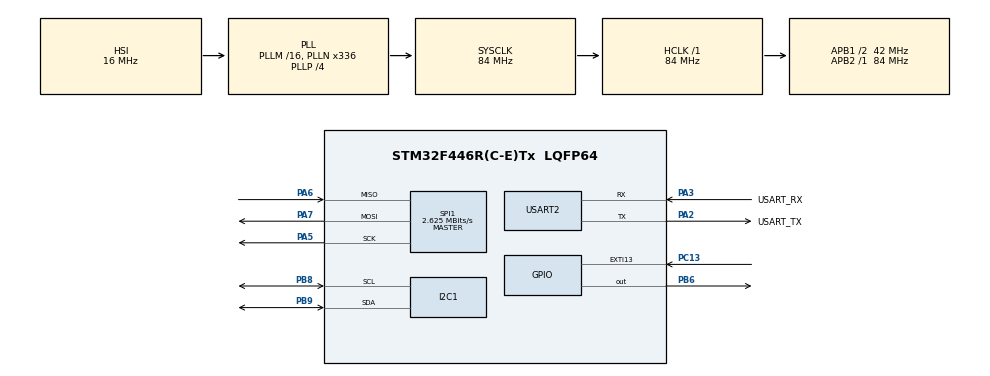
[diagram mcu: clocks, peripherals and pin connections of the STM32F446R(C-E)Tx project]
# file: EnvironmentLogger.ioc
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FREERTOS.Mutexes01=uartMutex,Dynamic,NULL,Available
FREERTOS.Queues01=recordQueue,4,SensorRecord,0,Dynamic,NULL,NULL
FREERTOS.Tasks01=SensorTask,32,512,StartSensorTask,Default,NULL,Dynamic,NULL,NULL;StorageTask,24,256,StartStorageTask,Default,NULL,Dynamic,NULL,NULL
Mcu.Family=STM32F4
Mcu.Name=STM32F446R(C-E)Tx
Mcu.Package=LQFP64
NUCLEO-F446RE.BUTTON=1
NUCLEO-F446RE.LD1=false
NVIC.EXTI15_10_IRQn=true\:5\:0\:false\:false\:true\:true\:false\:true\:true
NVIC.PriorityGroup=NVIC_PRIORITYGROUP_4
NVIC.TIM6_DAC_IRQn=true\:15\:0\:false\:false\:true\:false\:false\:true\:true
NVIC.TimeBase=TIM6_DAC_IRQn
NVIC.TimeBaseIP=TIM6
PA13.GPIO_Label=TMS
PA13.Signal=SYS_JTMS-SWDIO
PA14.GPIO_Label=TCK
PA14.Signal=SYS_JTCK-SWCLK
PA2.GPIO_Label=USART_TX
PA2.Mode=Asynchronous
PA2.Signal=USART2_TX
PA3.GPIO_Label=USART_RX
PA3.Mode=Asynchronous
PA3.Signal=USART2_RX
PA5.Mode=Full_Duplex_Master
PA5.Signal=SPI1_SCK
PA6.Mode=Full_Duplex_Master
PA6.Signal=SPI1_MISO
PA7.Mode=Full_Duplex_Master
PA7.Signal=SPI1_MOSI
PB3.GPIO_Label=SWO
PB3.Signal=SYS_JTDO-SWO
PB6.GPIO_PuPd=GPIO_NOPULL
PB6.PinState=GPIO_PIN_SET
PB6.Signal=GPIO_Output
PB8.Mode=I2C
PB8.Signal=I2C1_SCL
PB9.Mode=I2C
PB9.Signal=I2C1_SDA
PC13.Signal=GPXTI13
PC14-OSC32_IN.Signal=RCC_OSC32_IN
PC15-OSC32_OUT.Signal=RCC_OSC32_OUT
PH0-OSC_IN.Signal=RCC_OSC_IN
PH1-OSC_OUT.Signal=RCC_OSC_OUT
ProjectManager.HeapSize=0x200
ProjectManager.StackSize=0x400
ProjectManager.TargetToolchain=CMake
RCC.AHBFreq_Value=84000000
RCC.APB1CLKDivider=RCC_HCLK_DIV2
RCC.APB1Freq_Value=42000000
RCC.APB1TimFreq_Value=84000000
RCC.APB2Freq_Value=84000000
RCC.APB2TimFreq_Value=84000000
RCC.CortexFreq_Value=84000000
RCC.FLatency-AdvancedSettings=FLASH_LATENCY_2
RCC.HCLKFreq_Value=84000000
RCC.HSE_VALUE=8000000
RCC.HSI_VALUE=16000000
RCC.LSE_VALUE=32768
RCC.PLLN=336
RCC.PLLP=RCC_PLLP_DIV4
RCC.SYSCLKFreq_VALUE=84000000
RCC.SYSCLKSource=RCC_SYSCLKSOURCE_PLLCLK
RCC.USBFreq_Value=168000000
RCC.VCOOutputFreq_Value=336000000
SPI1.BaudRatePrescaler=SPI_BAUDRATEPRESCALER_32
SPI1.CalculateBaudRate=2.625 MBits/s
SPI1.Direction=SPI_DIRECTION_2LINES
SPI1.Mode=SPI_MODE_MASTER
SPI1.VirtualType=VM_MASTER
USART2.VirtualMode=VM_ASYNC
VP_CRC_VS_CRC.Mode=CRC_Activate
VP_FREERTOS_VS_CMSIS_V2.Mode=CMSIS_V2
VP_NUCLEO-F446RE_VS_BSP_COMMON.Mode=COMMON
VP_SYS_VS_tim6.Mode=TIM6
board=NUCLEO-F446RE

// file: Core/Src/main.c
/* USER CODE BEGIN Header */
/**
  ******************************************************************************
  * @file           : main.c
  * @brief          : Main program body
  ******************************************************************************
  * @attention
  *
  * Copyright (c) 2026 STMicroelectronics.
  * All rights reserved.
  *
  * This software is licensed under terms that can be found in the LICENSE file
  * in the root directory of this software component.
  * If no LICENSE file comes with this software, it is provided AS-IS.
  *
  ******************************************************************************
  */
/* USER CODE END Header */
#include "main.h"
#include "cmsis_os.h"

/* USER CODE BEGIN Includes */
#include "flash_layout.h"
#include "recovery_scan.h"
/* USER CODE END Includes */

/* USER CODE BEGIN PD */
#define PROVISION_LOG 0
/* USER CODE END PD */

CRC_HandleTypeDef hcrc;

I2C_HandleTypeDef hi2c1;

SPI_HandleTypeDef hspi1;

UART_HandleTypeDef huart2;

/* Definitions for SensorTask */
osThreadId_t SensorTaskHandle;
const osThreadAttr_t SensorTask_attributes = {
  .name = "SensorTask",
  .stack_size = 512 * 4,
  .priority = (osPriority_t) osPriorityAboveNormal,
};
/* Definitions for StorageTask */
osThreadId_t StorageTaskHandle;
const osThreadAttr_t StorageTask_attributes = {
  .name = "StorageTask",
  .stack_size = 256 * 4,
  .priority = (osPriority_t) osPriorityNormal,
};
/* Definitions for recordQueue */
osMessageQueueId_t recordQueueHandle;
const osMessageQueueAttr_t recordQueue_attributes = {
  .name = "recordQueue"
};
/* Definitions for uartMutex */
osMutexId_t uartMutexHandle;
const osMutexAttr_t uartMutex_attributes = {
  .name = "uartMutex"
};
/* USER CODE BEGIN PV */
static ScanResult recovery_result;
static BME280_Calibration calibration;
/* USER CODE END PV */

void SystemClock_Config(void);
static void MX_GPIO_Init(void);
static void MX_I2C1_Init(void);
static void MX_SPI1_Init(void);
static void MX_USART2_UART_Init(void);
static void MX_CRC_Init(void);
void StartSensorTask(void *argument);
void StartStorageTask(void *argument);

/* USER CODE BEGIN 0 */
static void Test_Print(const char *message)
{
    if(uartMutexHandle != NULL){
        osMutexAcquire(uartMutexHandle, osWaitForever);
        HAL_UART_Transmit(&huart2,
                 (uint8_t *)message,
                 (uint16_t)strlen(message),
                 HAL_MAX_DELAY);
        osMutexRelease(uartMutexHandle);
    }else{
        HAL_UART_Transmit(&huart2,
                 (uint8_t *)message,
                 (uint16_t)strlen(message),
                 HAL_MAX_DELAY);
    }

}

#define PROVISION_LOG_BASE          FLASH_LOG_BASE_ADDRESS
#define PROVISION_LOG_SIZE          FLASH_LOG_SIZE_BYTES
#define PROVISION_SECTOR_SIZE       W25Q64_SECTOR_SIZE
#define PROVISION_SECTOR_COUNT      \
    (PROVISION_LOG_SIZE / PROVISION_SECTOR_SIZE)

#define PROVISION_VERIFY_CHUNK_SIZE 256U

_Static_assert(
    (PROVISION_LOG_SIZE % W25Q64_SECTOR_SIZE) == 0U,
    "Log size must contain whole flash sectors"
);

_Static_assert(
    PROVISION_LOG_BASE % W25Q64_SECTOR_SIZE == 0U,
    "Log base must be sector-aligned"
);

_Static_assert(
    PROVISION_LOG_BASE + PROVISION_LOG_SIZE ==
        FLASH_LOG_END_ADDRESS,
    "Provisioning region must match the approved log layout"
);

static void Test_PrintHex32(uint32_t value)
{
    static const char hex[] = "0123456789ABCDEF";
    char output[8];

    for (uint32_t i = 0; i < 8U; i++)
    {
        uint32_t shift = 28U - (i * 4U);
        output[i] = hex[(value >> shift) & 0x0FU];
    }

    HAL_UART_Transmit(&huart2,
                      (uint8_t *)output,
                      sizeof(output),
                      HAL_MAX_DELAY);
}

#if PROVISION_LOG
static void Test_PrintHexByte(uint8_t value)
{
    const char hex[] = "0123456789ABCDEF";
    char text[3];

    text[0] = hex[(value >> 4) & 0x0F];
    text[1] = hex[value & 0x0F];
    text[2] = '\0';

    Test_Print(text);
}

static HAL_StatusTypeDef ProvisionLog(void)
{
    uint8_t buffer[PROVISION_VERIFY_CHUNK_SIZE];

    Test_Print("PROVISION START base=0x");
    Test_PrintHex32(PROVISION_LOG_BASE);
    Test_Print(" size=0x");
    Test_PrintHex32(PROVISION_LOG_SIZE);
    Test_Print(" sectors=0x");
    Test_PrintHex32(PROVISION_SECTOR_COUNT);
    Test_Print("\r\n");

    for (uint32_t sector = 0;
         sector < PROVISION_SECTOR_COUNT;
         sector++)
    {
        uint32_t sector_address =
            PROVISION_LOG_BASE + (sector * PROVISION_SECTOR_SIZE);

        /* Erase this sector. */
        HAL_StatusTypeDef status =
            Flash_SectorErase(sector_address, &hspi1);

        if (status != HAL_OK)
        {
            Test_Print("PROVISION ERASE FAIL sector=0x");
            Test_PrintHex32(sector);
            Test_Print(" addr=0x");
            Test_PrintHex32(sector_address);
            Test_Print(" status=0x");
            Test_PrintHexByte((uint8_t)status);
            Test_Print("\r\n");

            return status;
        }

        Test_Print("PROVISION ERASE sector=0x");
        Test_PrintHex32(sector);
        Test_Print(" addr=0x");
        Test_PrintHex32(sector_address);
        Test_Print(" OK\r\n");

        /* Verify every byte in the sector. */
        for (uint32_t offset = 0;
             offset < PROVISION_SECTOR_SIZE;
             offset += PROVISION_VERIFY_CHUNK_SIZE)
        {
            uint32_t address = sector_address + offset;

            status = Flash_Read(address,
                                buffer,
                                (uint16_t)sizeof(buffer),
                                &hspi1);

            if (status != HAL_OK)
            {
                Test_Print("PROVISION READ FAIL sector=0x");
                Test_PrintHex32(sector);
                Test_Print(" addr=0x");
                Test_PrintHex32(address);
                Test_Print(" status=0x");
                Test_PrintHexByte((uint8_t)status);
                Test_Print("\r\n");

                return status;
            }

            for (uint32_t i = 0; i < sizeof(buffer); i++)
            {
                if (buffer[i] != 0xFFU)
                {
                    Test_Print("PROVISION VERIFY FAIL sector=0x");
                    Test_PrintHex32(sector);
                    Test_Print(" addr=0x");
                    Test_PrintHex32(address + i);
                    Test_Print(" expected=0xFF actual=0x");
                    Test_PrintHexByte(buffer[i]);
                    Test_Print("\r\n");

                    return HAL_ERROR;
                }
            }
        }

        Test_Print("PROVISION VERIFY sector=0x");
        Test_PrintHex32(sector);
        Test_Print(" addr=0x");
        Test_PrintHex32(sector_address);
        Test_Print(" OK\r\n");
    }

    Test_Print("PROVISION COMPLETE bytes_verified=16384\r\n");

    return HAL_OK;
}
#endif

static const char *RecoveryStatusName(ScanStatus status)
{
    switch (status)
    {
        case SCAN_OK:
            return "SCAN_OK";

        case SCAN_FULL:
            return "SCAN_FULL";

        case SCAN_IO_ERROR:
            return "SCAN_IO_ERROR";

        case SCAN_BAD_ARGUMENT:
            return "SCAN_BAD_ARGUMENT";

        default:
            return "UNKNOWN";
    }
}

static ScanReadStatus Recovery_FlashRead(
    void *context,
    uint32_t address,
    uint8_t *buffer,
    uint32_t length)
{
    SPI_HandleTypeDef *hspi = (SPI_HandleTypeDef *)context;

    if (hspi == NULL ||
        buffer == NULL ||
        length == 0U ||
        length > UINT16_MAX)
    {
        return SCAN_READ_FAILED;
    }

    if (Flash_Read(address,
                   buffer,
                   (uint16_t)length,
                   hspi) != HAL_OK)
    {
        return SCAN_READ_FAILED;
    }

    return SCAN_READ_OK;
}

static HAL_StatusTypeDef Logger_AppendRecord(
    uint32_t slot,
    const SensorRecord *record,
    SPI_HandleTypeDef *hspi
  );

static HAL_StatusTypeDef Logger_AppendRecord(
    uint32_t slot,
    const SensorRecord *record,
    SPI_HandleTypeDef *hspi)
{
    uint8_t existing[SENSOR_RECORD_SIZE_BYTES];
    uint8_t readback[SENSOR_RECORD_SIZE_BYTES];
    const uint8_t *record_bytes;
    uint32_t address;
    HAL_StatusTypeDef status;

    if (record == NULL || hspi == NULL ||
        slot >= FLASH_LOG_SLOT_COUNT)
    {
        return HAL_ERROR;
    }

    address = FLASH_LOG_BASE_ADDRESS +
              slot * SENSOR_RECORD_SIZE_BYTES;

    /*
     * Never program a slot unless the entire destination is erased.
     */
    status = Flash_Read(
        address,
        existing,
        SENSOR_RECORD_SIZE_BYTES,
        hspi);

    if (status != HAL_OK)
    {
        Test_Print("APPEND ERROR: DESTINATION READ\r\n");
        return status;
    }

    for (uint32_t i = 0U; i < SENSOR_RECORD_SIZE_BYTES; i++)
    {
        if (existing[i] != 0xFFU)
        {
            Test_Print("APPEND ERROR: DESTINATION NOT BLANK\r\n");
            return HAL_ERROR;
        }
    }

    /*
     * SensorRecord is statically checked to be exactly 16 bytes.
     * Program once only; an error can leave the slot uncertain.
     */
    record_bytes = (const uint8_t *)record;

    status = Flash_PageProgram(
        address,
        record_bytes,
        SENSOR_RECORD_SIZE_BYTES,
        hspi);

    if (status != HAL_OK)
    {
        Test_Print("APPEND ERROR: PAGE PROGRAM\r\n");
        return status;
    }

    /*
     * Verify using a separate buffer. Do not trust a successful
     * PageProgram return as proof that the record is valid.
     */
    status = Flash_Read(
        address,
        readback,
        SENSOR_RECORD_SIZE_BYTES,
        hspi);

    if (status != HAL_OK)
    {
        Test_Print("APPEND ERROR: READBACK\r\n");
        return status;
    }

    /*
     * The record arrived with a CRC computed by SensorRecord_Build,
     * so a byte-exact readback implies a valid CRC. No CRC is
     * recomputed here; this keeps the CRC peripheral used by a
     * single task once the scheduler runs.
     */
    if (memcmp(readback, record_bytes, SENSOR_RECORD_SIZE_BYTES) != 0)
    {
        Test_Print("APPEND ERROR: READBACK MISMATCH\r\n");
        return HAL_ERROR;
    }

    Test_Print("APPEND VERIFIED slot=0x");
    Test_PrintHex32(slot);
    Test_Print(" seq=0x");
    Test_PrintHex32(record->seq);
    Test_Print("\r\n");

    return HAL_OK;
}

/* USER CODE END 0 */

int main(void)
{

  /* MCU Configuration--------------------------------------------------------*/

  /* Reset of all peripherals, Initializes the Flash interface and the Systick. */
  HAL_Init();

  /* Configure the system clock */
  SystemClock_Config();

  /* Initialize all configured peripherals */
  MX_GPIO_Init();
  MX_I2C1_Init();
  MX_SPI1_Init();
  MX_USART2_UART_Init();
  MX_CRC_Init();
  /* USER CODE BEGIN 2 */
  __HAL_SPI_ENABLE(&hspi1);   /* drive SCK to Mode 0 idle low before CS is ever asserted */

    #if PROVISION_LOG

    if (ProvisionLog() == HAL_OK)
    {
        Test_Print(
            "PROVISION HALTED. FLASH NORMAL BUILD.\r\n");
    }
    else
    {
        Test_Print(
            "PROVISION HALTED. FAILURE REPORTED ABOVE.\r\n");
    }

    while (1)
    {
    }

  #endif

    /* RECOVERY_SCAN */

  ScanConfig recovery_config = {
      .read = Recovery_FlashRead,
      .classify = SensorRecord_Classify,
      .context = &hspi1,
      .base_address = FLASH_LOG_BASE_ADDRESS,
      .slot_count = FLASH_LOG_SLOT_COUNT
  };

  uint32_t recovery_start = HAL_GetTick();

  ScanStatus recovery_status =
      RecoveryScan(&recovery_config, &recovery_result);

  uint32_t recovery_elapsed =
      HAL_GetTick() - recovery_start;

  Test_Print("RECOVERY status=");
  Test_Print(RecoveryStatusName(recovery_status));

  Test_Print(" append_slot=0x");
  Test_PrintHex32(recovery_result.append_slot);

  Test_Print(" next_seq=0x");
  Test_PrintHex32(recovery_result.next_seq);

  Test_Print(" elapsed_ticks=0x");
  Test_PrintHex32(recovery_elapsed);

  Test_Print("\r\n");

  switch (recovery_status)
  {
      case SCAN_OK:
          if (recovery_result.append_slot < FLASH_LOG_SLOT_COUNT)
          {
              Test_Print(
                  "RECOVERY READY. LOGGER STARTING.\r\n");
          }
          else
          {
              Test_Print(
                  "RECOVERY FAULT. INVALID APPEND SLOT.\r\n");
          }
          break;

      case SCAN_FULL:
          Test_Print(
              "RECOVERY FULL. WRITES DISABLED.\r\n");
          break;

      case SCAN_IO_ERROR:
          Test_Print(
              "RECOVERY IO FAULT. WRITES DISABLED.\r\n");
          break;

      case SCAN_BAD_ARGUMENT:
      default:
          Test_Print(
              "RECOVERY CONFIG FAULT. WRITES DISABLED.\r\n");
          break;
  }

/*
 * Continuous logger.
 * Recovery must succeed before any sensor or storage activity.
 */
if ((recovery_status == SCAN_OK) &&
    (recovery_result.append_slot < FLASH_LOG_SLOT_COUNT))
{
    uint8_t calib_1[Block_1_Length];
    uint8_t calib_2[Block_2_Length];

    HAL_StatusTypeDef sensor_status;

    sensor_status = BME280_Configure(&hi2c1);

    if (sensor_status != HAL_OK)
    {
        Test_Print("SENSOR ERROR: CONFIGURE. LOGGER STOPPED.\r\n");
        while (1) { HAL_Delay(1000); }
    }

    sensor_status = BME280_ReadCalibration(
        &hi2c1, calib_1, calib_2);

    if (sensor_status != HAL_OK)
    {
        Test_Print("SENSOR ERROR: CALIBRATION. LOGGER STOPPED.\r\n");
        while (1) { HAL_Delay(1000); }
    }

    BME280_ParseCalibration(
        calib_1, calib_2, &calibration);

    Test_Print("LOGGER STARTED period_ms=0x000000FA\r\n");
}else{
    while(1){}; //Recovery failed. Don't continue.
}
  /* USER CODE END 2 */

  /* Init scheduler */
  osKernelInitialize();
  /* Create the mutex(es) */
  /* creation of uartMutex */
  uartMutexHandle = osMutexNew(&uartMutex_attributes);

  /* Create the queue(s) */
  /* creation of recordQueue */
  recordQueueHandle = osMessageQueueNew (4, sizeof(SensorRecord), &recordQueue_attributes);

  /* Create the thread(s) */
  /* creation of SensorTask */
  SensorTaskHandle = osThreadNew(StartSensorTask, NULL, &SensorTask_attributes);

  /* creation of StorageTask */
  StorageTaskHandle = osThreadNew(StartStorageTask, NULL, &StorageTask_attributes);

  /* Initialize USER push-button, will be used to trigger an interrupt each time it's pressed.*/
  BSP_PB_Init(BUTTON_USER, BUTTON_MODE_EXTI);

  /* Start scheduler */
  osKernelStart();

  /* We should never get here as control is now taken by the scheduler */

  /* Infinite loop */
  while (1)
  {

  }
}

void SystemClock_Config(void)
{
  RCC_OscInitTypeDef RCC_OscInitStruct = {0};
  RCC_ClkInitTypeDef RCC_ClkInitStruct = {0};

  /** Configure the main internal regulator output voltage
  */
  __HAL_RCC_PWR_CLK_ENABLE();
  __HAL_PWR_VOLTAGESCALING_CONFIG(PWR_REGULATOR_VOLTAGE_SCALE3);

  /** Initializes the RCC Oscillators according to the specified parameters
  * in the RCC_OscInitTypeDef structure.
  */
  RCC_OscInitStruct.OscillatorType = RCC_OSCILLATORTYPE_HSI;
  RCC_OscInitStruct.HSIState = RCC_HSI_ON;
  RCC_OscInitStruct.HSICalibrationValue = RCC_HSICALIBRATION_DEFAULT;
  RCC_OscInitStruct.PLL.PLLState = RCC_PLL_ON;
  RCC_OscInitStruct.PLL.PLLSource = RCC_PLLSOURCE_HSI;
  RCC_OscInitStruct.PLL.PLLM = 16;
  RCC_OscInitStruct.PLL.PLLN = 336;
  RCC_OscInitStruct.PLL.PLLP = RCC_PLLP_DIV4;
  RCC_OscInitStruct.PLL.PLLQ = 2;
  RCC_OscInitStruct.PLL.PLLR = 2;
  if (HAL_RCC_OscConfig(&RCC_OscInitStruct) != HAL_OK)
  {
    Error_Handler();
  }

  /** Initializes the CPU, AHB and APB buses clocks
  */
  RCC_ClkInitStruct.ClockType = RCC_CLOCKTYPE_HCLK|RCC_CLOCKTYPE_SYSCLK
                              |RCC_CLOCKTYPE_PCLK1|RCC_CLOCKTYPE_PCLK2;
  RCC_ClkInitStruct.SYSCLKSource = RCC_SYSCLKSOURCE_PLLCLK;
  RCC_ClkInitStruct.AHBCLKDivider = RCC_SYSCLK_DIV1;
  RCC_ClkInitStruct.APB1CLKDivider = RCC_HCLK_DIV2;
  RCC_ClkInitStruct.APB2CLKDivider = RCC_HCLK_DIV1;

  if (HAL_RCC_ClockConfig(&RCC_ClkInitStruct, FLASH_LATENCY_2) != HAL_OK)
  {
    Error_Handler();
  }
}

static void MX_CRC_Init(void)
{

  hcrc.Instance = CRC;
  if (HAL_CRC_Init(&hcrc) != HAL_OK)
  {
    Error_Handler();
  }

}

static void MX_I2C1_Init(void)
{

  hi2c1.Instance = I2C1;
  hi2c1.Init.ClockSpeed = 100000;
  hi2c1.Init.DutyCycle = I2C_DUTYCYCLE_2;
  hi2c1.Init.OwnAddress1 = 0;
  hi2c1.Init.AddressingMode = I2C_ADDRESSINGMODE_7BIT;
  hi2c1.Init.DualAddressMode = I2C_DUALADDRESS_DISABLE;
  hi2c1.Init.OwnAddress2 = 0;
  hi2c1.Init.GeneralCallMode = I2C_GENERALCALL_DISABLE;
  hi2c1.Init.NoStretchMode = I2C_NOSTRETCH_DISABLE;
  if (HAL_I2C_Init(&hi2c1) != HAL_OK)
  {
    Error_Handler();
  }

}

static void MX_SPI1_Init(void)
{

  /* SPI1 parameter configuration*/
  hspi1.Instance = SPI1;
  hspi1.Init.Mode = SPI_MODE_MASTER;
  hspi1.Init.Direction = SPI_DIRECTION_2LINES;
  hspi1.Init.DataSize = SPI_DATASIZE_8BIT;
  hspi1.Init.CLKPolarity = SPI_POLARITY_LOW;
  hspi1.Init.CLKPhase = SPI_PHASE_1EDGE;
  hspi1.Init.NSS = SPI_NSS_SOFT;
  hspi1.Init.BaudRatePrescaler = SPI_BAUDRATEPRESCALER_32;
  hspi1.Init.FirstBit = SPI_FIRSTBIT_MSB;
  hspi1.Init.TIMode = SPI_TIMODE_DISABLE;
  hspi1.Init.CRCCalculation = SPI_CRCCALCULATION_DISABLE;
  hspi1.Init.CRCPolynomial = 10;
  if (HAL_SPI_Init(&hspi1) != HAL_OK)
  {
    Error_Handler();
  }

}

static void MX_USART2_UART_Init(void)
{

  huart2.Instance = USART2;
  huart2.Init.BaudRate = 115200;
  huart2.Init.WordLength = UART_WORDLENGTH_8B;
  huart2.Init.StopBits = UART_STOPBITS_1;
  huart2.Init.Parity = UART_PARITY_NONE;
  huart2.Init.Mode = UART_MODE_TX_RX;
  huart2.Init.HwFlowCtl = UART_HWCONTROL_NONE;
  huart2.Init.OverSampling = UART_OVERSAMPLING_16;
  if (HAL_UART_Init(&huart2) != HAL_OK)
  {
    Error_Handler();
  }

}

static void MX_GPIO_Init(void)
{
  GPIO_InitTypeDef GPIO_InitStruct = {0};

  /* GPIO Ports Clock Enable */
  __HAL_RCC_GPIOC_CLK_ENABLE();
  __HAL_RCC_GPIOH_CLK_ENABLE();
  __HAL_RCC_GPIOA_CLK_ENABLE();
  __HAL_RCC_GPIOB_CLK_ENABLE();

  /*Configure GPIO pin Output Level */
  HAL_GPIO_WritePin(GPIOB, GPIO_PIN_6, GPIO_PIN_SET);

  /*Configure GPIO pin : PB6 */
  GPIO_InitStruct.Pin = GPIO_PIN_6;
  GPIO_InitStruct.Mode = GPIO_MODE_OUTPUT_PP;
  GPIO_InitStruct.Pull = GPIO_NOPULL;
  GPIO_InitStruct.Speed = GPIO_SPEED_FREQ_LOW;
  HAL_GPIO_Init(GPIOB, &GPIO_InitStruct);

}

void StartSensorTask(void *argument)
{
  /* USER CODE BEGIN 5 */
  uint32_t next_seq = recovery_result.next_seq;
  uint32_t dropped = 0;
  uint32_t stack_report_count = 0;
  TickType_t last_wake = xTaskGetTickCount();
  const TickType_t period = pdMS_TO_TICKS(250);

  /* Infinite loop */
  for(;;)
  {
    vTaskDelayUntil(&last_wake, period);
    uint32_t now = xTaskGetTickCount();
    if (now - last_wake >= period)
        {
            uint32_t late_ms = now - last_wake;
            uint32_t missed = (late_ms / period) + 1U;
            uint32_t first_skipped_seq = next_seq;
            uint32_t last_skipped_seq;

            /*
             * Never permit sequence-number wraparound.
             */
            if ((next_seq == UINT32_MAX) ||
                (missed > (UINT32_MAX - next_seq)))
            {
                Test_Print(
                    "LOGGER FAULT: SEQUENCE EXHAUSTED. WRITES STOPPED.\r\n");
                while (1) { vTaskSuspend(NULL); }
            }

            last_skipped_seq = next_seq + missed - 1U;
            next_seq += missed;
            last_wake += (missed - 1U) * period;

            Test_Print("SAMPLES SKIPPED first_seq=0x");
            Test_PrintHex32(first_skipped_seq);
            Test_Print(" last_seq=0x");
            Test_PrintHex32(last_skipped_seq);
            Test_Print("\r\n");

            /*
             * Return to the top to recheck the deadline.
             * Printing may itself have taken time.
             */
            continue;
        }

        /*
         * A sequence of UINT32_MAX is reserved as the
         * exhausted state, preventing increment wraparound.
         */
        if (next_seq == UINT32_MAX)
        {
            Test_Print(
                "LOGGER FAULT: SEQUENCE EXHAUSTED. WRITES STOPPED.\r\n");
            while (1) { vTaskSuspend(NULL); }
        }

        int32_t temperature_centi_c;
        uint32_t pressure_q24_8;
        uint32_t humidity_q22_10;

        SensorRecord record;
        SensorRecordStatus record_status;
        HAL_StatusTypeDef sensor_status;

        sensor_status = BME280_ReadMeasurement(
            &hi2c1,
            &calibration,
            &temperature_centi_c,
            &pressure_q24_8,
            &humidity_q22_10);

        if (sensor_status != HAL_OK)
        {
            Test_Print("LOGGER FAULT: SENSOR READ FAILED. WRITES STOPPED.\r\n");
            while (1) { vTaskSuspend(NULL); }
        }

        record_status = SensorRecord_Build(
            &record,
            next_seq,
            temperature_centi_c,
            pressure_q24_8,
            humidity_q22_10);

        if (record_status != SENSOR_RECORD_OK)
        {
            Test_Print("LOGGER FAULT: RECORD BUILD FAILED. WRITES STOPPED.\r\n");
            while (1) { vTaskSuspend(NULL); }
        }

        osStatus_t queue_status = osMessageQueuePut(recordQueueHandle, &record, 0, 0);

        if(queue_status != osOK){
            dropped++;
            Test_Print("DROP seq=0x");
            Test_PrintHex32(record.seq);
            Test_Print(" total=0x");
            Test_PrintHex32(dropped);
            Test_Print("\r\n");
        }

        next_seq++;
        /*
         * Print the stored engineering units, not raw sensor
         * fixed-point values. No floating-point formatting.
         */
        {
            char line[128];
            int32_t temp = record.temperature_centi_c;
            uint32_t temp_magnitude =
                (temp < 0) ? (uint32_t)(-temp) : (uint32_t)temp;

            if (temp < 0)
            {
                (void)snprintf(
                    line, sizeof(line),
                    "SAMPLE tick=0x%08lX seq=0x%08lX temp=-%lu.%02luC pressure=%luPa humidity=%lu.%02lu%%RH\r\n",
                    (unsigned long)now,
                    (unsigned long)record.seq,
                    (unsigned long)(temp_magnitude / 100U),
                    (unsigned long)(temp_magnitude % 100U),
                    (unsigned long)record.pressure_pa,
                    (unsigned long)(record.humidity_centi_pct / 100U),
                    (unsigned long)(record.humidity_centi_pct % 100U));
            }
            else
            {
                (void)snprintf(
                    line, sizeof(line),
                    "SAMPLE tick=0x%08lX seq=0x%08lX temp=%lu.%02luC pressure=%luPa humidity=%lu.%02lu%%RH\r\n",
                    (unsigned long)now,
                    (unsigned long)record.seq,
                    (unsigned long)(temp_magnitude / 100U),
                    (unsigned long)(temp_magnitude % 100U),
                    (unsigned long)record.pressure_pa,
                    (unsigned long)(record.humidity_centi_pct / 100U),
                    (unsigned long)(record.humidity_centi_pct % 100U));
            }

            Test_Print(line);
        }

        /*
         * Every 40 cycles (10 s), report the minimum free stack each
         * task has ever had, in bytes. Measured after the SAMPLE print
         * so this cycle's snprintf is already included.
         */
        stack_report_count++;
        if (stack_report_count >= 40U)
        {
            stack_report_count = 0;

            Test_Print("STACK sensor_free=0x");
            Test_PrintHex32(osThreadGetStackSpace(SensorTaskHandle));
            Test_Print(" storage_free=0x");
            Test_PrintHex32(osThreadGetStackSpace(StorageTaskHandle));
            Test_Print("\r\n");
        }
  }
  /* USER CODE END 5 */
}

void StartStorageTask(void *argument)
{
  /* USER CODE BEGIN StartStorageTask */
  SensorRecord record;
  uint32_t append_slot = recovery_result.append_slot;
  /* Infinite loop */
  for(;;)
  {
    osMessageQueueGet(recordQueueHandle, &record, NULL, osWaitForever);
     /*
         * Logger_AppendRecord performs the destination blank
         * check, one program attempt, readback classification,
         * and exact byte comparison.
         */
        if (Logger_AppendRecord(
            append_slot, &record, &hspi1) != HAL_OK)
        {
            Test_Print(
                "LOGGER FAULT: APPEND FAILED, WRITES STOPPED.\r\n");
            while (1) { vTaskSuspend(NULL); }
        }

        append_slot++;
        if(append_slot >= FLASH_LOG_SLOT_COUNT){
            Test_Print(
                "LOGGER FAULT: LOGGER FULL, WRITES STOPPED.\r\n");
            while (1) { vTaskSuspend(NULL); }
        }
  }
  /* USER CODE END StartStorageTask */
}

void HAL_TIM_PeriodElapsedCallback(TIM_HandleTypeDef *htim)
{
  if (htim->Instance == TIM6)
  {
    HAL_IncTick();
  }
}

void Error_Handler(void)
{
  __disable_irq();
  while (1)
  {
  }
}
